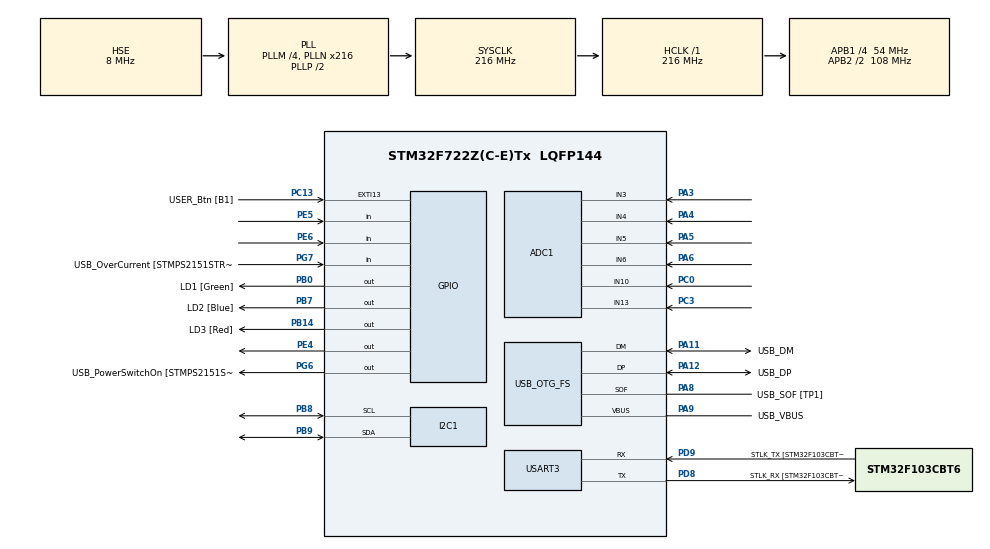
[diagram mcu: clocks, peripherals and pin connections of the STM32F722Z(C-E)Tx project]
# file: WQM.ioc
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ADC1.Channel-3\#ChannelRegularConversion=ADC_CHANNEL_3
ADC1.NbrOfConversionFlag=1
ADC1.Rank-3\#ChannelRegularConversion=1
ADC1.SamplingTime-3\#ChannelRegularConversion=ADC_SAMPLETIME_3CYCLES
ADC1.master=1
CORTEX_M7.default_mode_Activation=1
I2C1.Timing=0x20404768
Mcu.Family=STM32F7
Mcu.Name=STM32F722Z(C-E)Tx
Mcu.Package=LQFP144
NVIC.PriorityGroup=NVIC_PRIORITYGROUP_4
PA10.GPIO_Label=USB_ID
PA10.Signal=USB_OTG_FS_ID
PA11.GPIO_Label=USB_DM
PA11.Mode=Device_Only
PA11.Signal=USB_OTG_FS_DM
PA12.GPIO_Label=USB_DP
PA12.Mode=Device_Only
PA12.Signal=USB_OTG_FS_DP
PA13.GPIO_Label=TMS
PA13.Mode=Serial_Wire
PA13.Signal=SYS_JTMS-SWDIO
PA14.GPIO_Label=TCK
PA14.Mode=Serial_Wire
PA14.Signal=SYS_JTCK-SWCLK
PA3.Signal=ADCx_IN3
PA4.Signal=ADCx_IN4
PA5.Signal=ADCx_IN5
PA6.Signal=ADCx_IN6
PA8.GPIO_Label=USB_SOF [TP1]
PA8.Mode=Activate_SOF_FS
PA8.Signal=USB_OTG_FS_SOF
PA9.GPIO_Label=USB_VBUS
PA9.Mode=Activate_VBUS
PA9.Signal=USB_OTG_FS_VBUS
PB0.GPIO_Label=LD1 [Green]
PB0.Signal=GPIO_Output
PB14.GPIO_Label=LD3 [Red]
PB14.Signal=GPIO_Output
PB3.GPIO_Label=SWO
PB3.Signal=SYS_JTDO-SWO
PB7.GPIO_Label=LD2 [Blue]
PB7.Signal=GPIO_Output
PB8.Mode=I2C
PB8.Signal=I2C1_SCL
PB9.Mode=I2C
PB9.Signal=I2C1_SDA
PC0.Signal=ADCx_IN10
PC13.GPIO_Label=USER_Btn [B1]
PC13.Signal=GPXTI13
PC14-OSC32_IN.Mode=LSE-External-Oscillator
PC14-OSC32_IN.Signal=RCC_OSC32_IN
PC15-OSC32_OUT.Mode=LSE-External-Oscillator
PC15-OSC32_OUT.Signal=RCC_OSC32_OUT
PC3.Signal=ADCx_IN13
PD8.GPIO_Label=STLK_RX [STM32F103CBT6_PA3]
PD8.Mode=Asynchronous
PD8.Signal=USART3_TX
PD9.GPIO_Label=STLK_TX [STM32F103CBT6_PA2]
PD9.Mode=Asynchronous
PD9.Signal=USART3_RX
PE4.Signal=GPIO_Output
PE5.Signal=GPIO_Input
PE6.Signal=GPIO_Input
PG6.GPIO_Label=USB_PowerSwitchOn [STMPS2151STR_EN]
PG6.Signal=GPIO_Output
PG7.GPIO_Label=USB_OverCurrent [STMPS2151STR_FAULT]
PG7.Signal=GPIO_Input
PH0-OSC_IN.GPIO_Label=MCO
PH0-OSC_IN.Mode=HSE-External-Clock-Source
PH0-OSC_IN.Signal=RCC_OSC_IN
PH1-OSC_OUT.Mode=HSE-External-Clock-Source
PH1-OSC_OUT.Signal=RCC_OSC_OUT
ProjectManager.HeapSize=0x200
ProjectManager.StackSize=0x400
ProjectManager.TargetToolchain=STM32CubeIDE
RCC.48MHZClocksFreq_Value=24000000
RCC.AHBFreq_Value=216000000
RCC.APB1CLKDivider=RCC_HCLK_DIV4
RCC.APB1Freq_Value=54000000
RCC.APB1TimFreq_Value=108000000
RCC.APB2CLKDivider=RCC_HCLK_DIV2
RCC.APB2Freq_Value=108000000
RCC.APB2TimFreq_Value=216000000
RCC.CortexFreq_Value=216000000
RCC.HCLKFreq_Value=216000000
RCC.HSE_VALUE=8000000
RCC.HSI_VALUE=16000000
RCC.PLLM=4
RCC.PLLMUL=RCC_PLL_MUL9
RCC.PLLN=216
RCC.PLLQ=9
RCC.PRESCALERUSB=RCC_USBCLKSOURCE_PLL_DIV1_5
RCC.SYSCLKFreq_VALUE=216000000
RCC.SYSCLKSource=RCC_SYSCLKSOURCE_PLLCLK
RCC.SYSCLKSourceVirtual=RCC_SYSCLKSOURCE_PLLCLK
RCC.USBFreq_Value=48000000
RCC.VCOOutputFreq_Value=432000000
SH.ADCx_IN10.0=ADC1_IN10,IN10
SH.ADCx_IN13.0=ADC1_IN13,IN13
SH.ADCx_IN3.0=ADC1_IN3,IN3
SH.ADCx_IN4.0=ADC1_IN4,IN4
SH.ADCx_IN5.0=ADC1_IN5,IN5
SH.ADCx_IN6.0=ADC1_IN6,IN6
USART3.VirtualMode-Asynchronous=VM_ASYNC
USB_OTG_FS.VirtualMode=Device_Only
VP_TIM6_VS_ClockSourceINT.Mode=Enable_Timer
board=NUCLEO-F722ZE

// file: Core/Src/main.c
/* USER CODE BEGIN Header */
/**
 ******************************************************************************
 * @file           : main.c
 * @brief          : Main program body
 ******************************************************************************
 * @attention
 *
 * Copyright (c) 2026 STMicroelectronics.
 * All rights reserved.
 *
 * This software is licensed under terms that can be found in the LICENSE file
 * in the root directory of this software component.
 * If no LICENSE file comes with this software, it is provided AS-IS.
 *
 ******************************************************************************
 */
/* USER CODE END Header */
#include "main.h"

/* USER CODE BEGIN Includes */
#include <math.h>
#include <stdio.h>
#include <string.h>
/* USER CODE END Includes */

/* USER CODE BEGIN PTD */

/* ── Sensor data aggregate ──────────────────────────────────────────────────
 */
typedef struct {
  float ph;
  float turbidity_ntu;
  float tds_ppm;
  float do_mgl;
  float ec_uscm;
  float orp_mv;
  float water_temp_1; /* DS18B20 primary   */
  float water_temp_2; /* DS18B20 backup    */
  float depth_cm;     /* JSN-SR04T         */
  float air_temp;     /* BME280            */
  float humidity;     /* BME280            */
  float pressure_hpa; /* BME280            */
} WQM_SensorData_t;

/* ── BME280 calibration data (from chip NVM) ────────────────────────────────
 * This structure holds the factory-set calibration coefficients (trimming
 * parameters) burned into the BME280 sensor's non-volatile memory (NVM).
 * These values must be read from the sensor during initialization and are
 * essential for compensating the raw ADC readings into actual physical
 * units (Temperature in °C, Pressure in Pa, Humidity in %).
 */
typedef struct {
  /* Temperature compensation parameters */
  uint16_t dig_T1;
  int16_t dig_T2;
  int16_t dig_T3;

  /* Pressure compensation parameters */
  uint16_t dig_P1;
  int16_t dig_P2;
  int16_t dig_P3;
  int16_t dig_P4;
  int16_t dig_P5;
  int16_t dig_P6;
  int16_t dig_P7;
  int16_t dig_P8;
  int16_t dig_P9;

  /* Humidity compensation parameters */
  uint8_t dig_H1;
  int16_t dig_H2;
  uint8_t dig_H3;
  int16_t dig_H4;
  int16_t dig_H5;
  int8_t dig_H6;
} BME280_CalibData_t;

/* USER CODE END PTD */

/* USER CODE BEGIN PD */

/* ── ADC & voltage ──────────────────────────────────────────────────────────
 */
#define ADC_RESOLUTION 4095.0f /* 12-bit ADC                     */
#define VREF 3.3f              /* STM32 ADC reference voltage    */
#define VDIV_SCALE 2.0f        /* Voltage divider 2:1 (10k/10k) */
#define ADC_SAMPLES 16         /* Oversampling count             */

/* ── pH sensor (SEN0161) calibration defaults ───────────────────────────────
 */
/* Two-point calibration: pH 7.0 → ~2.50V, pH 4.0 → ~3.03V (at sensor board) */
#define PH_CAL_SLOPE (-5.70f)
#define PH_CAL_OFFSET (21.34f)

/* ── Turbidity sensor (SEN0189) polynomial coefficients ─────────────────────
 */
#define TURB_COEFF_A (-1120.4f)
#define TURB_COEFF_B (5742.3f)
#define TURB_COEFF_C (-4352.9f)

/* ── TDS sensor (SEN0244) polynomial coefficients ───────────────────────────
 */
#define TDS_COEFF_A (133.42f)
#define TDS_COEFF_B (-255.86f)
#define TDS_COEFF_C (857.39f)
#define TDS_FACTOR (0.5f)

/* ── DO sensor (SEN0237-A) calibration ──────────────────────────────────────
 */
#define DO_CAL1_V 1600     /* Calibration voltage (mV) at cal temp */
#define DO_CAL1_T 25       /* Calibration temperature (°C)         */
#define DO_TEMP_COMP_MV 35 /* ~35 mV per °C compensation           */

/* ── Conductivity sensor (DFR0300) ──────────────────────────────────────────
 */
#define EC_K_CAL 1.0f       /* K-constant calibration factor  */
#define EC_TEMP_COEFF 0.02f /* 2% per °C                     */

/* ── ORP sensor (SEN0165) ───────────────────────────────────────────────────
 */
#define ORP_OFFSET 0.0f /* Calibration offset in mV      */

/* ── DS18B20 OneWire ────────────────────────────────────────────────────────
 */
#define OW_PORT GPIOE
#define OW_PIN GPIO_PIN_6
#define DS18B20_CMD_SKIP_ROM 0xCC
#define DS18B20_CMD_MATCH_ROM 0x55
#define DS18B20_CMD_SEARCH 0xF0
#define DS18B20_CMD_CONVERT 0x44
#define DS18B20_CMD_READ_SCRATCH 0xBE

/* ── JSN-SR04T ultrasonic ───────────────────────────────────────────────────
 */
#define TRIG_PORT GPIOE
#define TRIG_PIN GPIO_PIN_4
#define ECHO_PORT GPIOE
#define ECHO_PIN GPIO_PIN_5
#define US_TIMEOUT 30000 /* Echo timeout in µs (~5m max)  */

/* ── BME280 I2C ─────────────────────────────────────────────────────────────
 */
#define BME280_ADDR (0x76 << 1) /* 7-bit addr left-shifted for HAL */
#define BME280_REG_ID 0xD0
#define BME280_REG_CTRL_HUM 0xF2
#define BME280_REG_CTRL_MEAS 0xF4
#define BME280_REG_CONFIG 0xF5
#define BME280_REG_CALIB_00 0x88 /* Temp/pressure calib start      */
#define BME280_REG_CALIB_26 0xE1 /* Humidity calib start            */
#define BME280_REG_DATA 0xF7     /* Data burst read start           */
#define BME280_CHIP_ID 0x60

/* ── JSON buffer ────────────────────────────────────────────────────────────
 */
#define JSON_BUF_SIZE 512

/* ── Sampling interval ──────────────────────────────────────────────────────
 */
#define SAMPLE_INTERVAL_MS 5000 /* 5 seconds between readings     */

/* ── Device ID ──────────────────────────────────────────────────────────────
 */
#define DEVICE_ID                                                              \
  "WQM-001" // incase multiple of these units are deployed later, so each must
            // carry an id

/* USER CODE END PD */

ADC_HandleTypeDef hadc1;

I2C_HandleTypeDef hi2c1;

TIM_HandleTypeDef htim6;

UART_HandleTypeDef huart3;

PCD_HandleTypeDef hpcd_USB_OTG_FS;

/* USER CODE BEGIN PV */

static BME280_CalibData_t bme280_calib;
static int32_t bme280_t_fine; /* Shared between T/P/H comp  */
static WQM_SensorData_t sensor_data;
static char json_buf[JSON_BUF_SIZE];
static uint32_t sample_counter = 0;

/* DS18B20 ROM addresses — filled at boot by search */
static uint8_t ds18b20_rom[2][8]; /* ROM codes for up to 2 sensors       */
static uint8_t ds18b20_count = 0; /* Number of sensors discovered        */

/* DO saturation lookup table (mg/L × 100) from 0°C to 40°C */
static const uint16_t DO_Table[41] = {
    14460, 14220, 13820, 13440, 13090, 12740, 12420, 12110, 11810, 11530, 11260,
    11010, 10770, 10530, 10300, 10080, 9860,  9660,  9460,  9270,  9080,  8900,
    8730,  8570,  8410,  8250,  8110,  7960,  7820,  7690,  7560,  7430,  7300,
    7180,  7070,  6950,  6840,  6730,  6630,  6530,  6410};

/* USER CODE END PV */

void SystemClock_Config(void);
static void MPU_Config(void);
static void MX_GPIO_Init(void);
static void MX_USART3_UART_Init(void);
static void MX_USB_OTG_FS_PCD_Init(void);
static void MX_ADC1_Init(void);
static void MX_I2C1_Init(void);
static void MX_TIM6_Init(void);
/* USER CODE BEGIN PFP */

/* ── Microsecond delay ──────────────────────────────────────────────────────
 */
static void delay_us(uint16_t us);

/* ── ADC helpers ────────────────────────────────────────────────────────────
 */
static uint32_t ADC_Read_Channel(uint32_t channel);
static float ADC_Read_Voltage(uint32_t channel);

/* ── DS18B20 OneWire ────────────────────────────────────────────────────────
 */
static void OW_SetOutput(void);
static void OW_SetInput(void);
static void OW_Write(uint8_t state);
static uint8_t OW_Read(void);
static uint8_t OW_Reset(void);
static void OW_WriteByte(uint8_t data);
static uint8_t OW_ReadByte(void);
static void DS18B20_SearchROM(void);
static void DS18B20_StartConvertAll(void);
static float DS18B20_ReadTemp(uint8_t index);

/* ── JSN-SR04T ──────────────────────────────────────────────────────────────
 */
static float JSNSR04T_ReadDistance(void);

/* ── BME280 ─────────────────────────────────────────────────────────────────
 */
static uint8_t BME280_Init(void);
static void BME280_ReadCalibration(void);
static void BME280_ReadAll(float *temp, float *press, float *hum);
static int32_t BME280_CompensateTemp(int32_t adc_T);
static uint32_t BME280_CompensatePress(int32_t adc_P);
static uint32_t BME280_CompensateHum(int32_t adc_H);

/* ── Analog sensor conversions ──────────────────────────────────────────────
 */
static float Sensor_ReadPH(void);
static float Sensor_ReadTurbidity(void);
static float Sensor_ReadTDS(float water_temp);
static float Sensor_ReadDO(float water_temp, float pressure_hpa);
static float Sensor_ReadConductivity(float water_temp);
static float Sensor_ReadORP(void);

/* ── JSON builder ───────────────────────────────────────────────────────────
 */
static uint16_t WQM_BuildJSON(const WQM_SensorData_t *data, char *buf,
                              uint16_t buf_size);

/* ── Debug UART output ──────────────────────────────────────────────────────
 */
static void Debug_Print(const char *str);

/* USER CODE END PFP */

/* USER CODE BEGIN 0 */

/* ═══════════════════════════════════════════════════════════════════════════
 */
/*                          MICROSECOND DELAY (TIM6)                         */
/* ═══════════════════════════════════════════════════════════════════════════
 */

static void delay_us(uint16_t us) {
  __HAL_TIM_SET_COUNTER(&htim6, 0);
  while (__HAL_TIM_GET_COUNTER(&htim6) < us)
    ;
}

/* ═══════════════════════════════════════════════════════════════════════════
 */
/*                         ADC SINGLE-CHANNEL READER                         */
/* ═══════════════════════════════════════════════════════════════════════════
 */

/**
 * @brief  Read a single ADC channel with oversampling (16 samples averaged).
 * @param  channel  ADC channel number (e.g. ADC_CHANNEL_3)
 * @return Raw 12-bit ADC value (averaged)
 */
static uint32_t ADC_Read_Channel(uint32_t channel) {
  ADC_ChannelConfTypeDef sConfig = {0};
  sConfig.Channel = channel;
  sConfig.Rank = ADC_REGULAR_RANK_1;
  sConfig.SamplingTime = ADC_SAMPLETIME_56CYCLES;
  HAL_ADC_ConfigChannel(&hadc1, &sConfig);

  uint32_t sum = 0;
  for (int i = 0; i < ADC_SAMPLES; i++) {
    HAL_ADC_Start(&hadc1);
    HAL_ADC_PollForConversion(&hadc1, 10);
    sum += HAL_ADC_GetValue(&hadc1);
    HAL_ADC_Stop(&hadc1);
  }
  return sum / ADC_SAMPLES;
}

/**
 * @brief  Read ADC channel and convert to real-world voltage (accounting
 *         for voltage divider).
 * @param  channel  ADC channel number
 * @return Voltage at the sensor output (before divider), in volts
 */
static float ADC_Read_Voltage(uint32_t channel) {
  uint32_t raw = ADC_Read_Channel(channel);
  float v_adc = ((float)raw / ADC_RESOLUTION) * VREF;
  return v_adc * VDIV_SCALE; /* Scale back through voltage divider */
}

/* ═══════════════════════════════════════════════════════════════════════════
 */
/*                        DS18B20 — ONEWIRE DRIVER                           */
/* ═══════════════════════════════════════════════════════════════════════════
 */

static void OW_SetOutput(void) {
  GPIO_InitTypeDef g = {0};
  g.Pin = OW_PIN;
  g.Mode = GPIO_MODE_OUTPUT_PP;
  g.Pull = GPIO_NOPULL;
  g.Speed = GPIO_SPEED_FREQ_HIGH;
  HAL_GPIO_Init(OW_PORT, &g);
}

static void OW_SetInput(void) {
  GPIO_InitTypeDef g = {0};
  g.Pin = OW_PIN;
  g.Mode = GPIO_MODE_INPUT;
  g.Pull = GPIO_PULLUP;
  HAL_GPIO_Init(OW_PORT, &g);
}

static void OW_Write(uint8_t state) {
  HAL_GPIO_WritePin(OW_PORT, OW_PIN, state ? GPIO_PIN_SET : GPIO_PIN_RESET);
}

static uint8_t OW_Read(void) { return HAL_GPIO_ReadPin(OW_PORT, OW_PIN); }

/**
 * @brief  OneWire reset pulse. Returns 1 if a device is present, 0 otherwise.
 */
static uint8_t OW_Reset(void) {
  uint8_t presence;
  OW_SetOutput();
  OW_Write(0);
  delay_us(480);
  OW_SetInput();
  delay_us(70);
  presence = !OW_Read(); /* LOW = device present */
  delay_us(410);
  return presence;
}

static void OW_WriteBit(uint8_t bit) {
  OW_SetOutput();
  OW_Write(0);
  if (bit) {
    delay_us(6);
    OW_SetInput();
    delay_us(54);
  } else {
    delay_us(60);
    OW_SetInput();
  }
  delay_us(2);
}

static uint8_t OW_ReadBit(void) {
  uint8_t bit;
  OW_SetOutput();
  OW_Write(0);
  delay_us(2);
  OW_SetInput();
  delay_us(12);
  bit = OW_Read();
  delay_us(46);
  return bit;
}

static void OW_WriteByte(uint8_t data) {
  for (int i = 0; i < 8; i++) {
    OW_WriteBit(data & 0x01);
    data >>= 1;
  }
}

static uint8_t OW_ReadByte(void) {
  uint8_t data = 0;
  for (int i = 0; i < 8; i++) {
    data |= (OW_ReadBit() << i);
  }
  return data;
}

/**
 * @brief  Simple ROM search — discovers up to 2 DS18B20 devices on the bus.
 *         For exactly 2 sensors, this uses the SEARCH ROM algorithm.
 *         Fallback: if only 1 device, READ ROM is used.
 */
static void DS18B20_SearchROM(void) {
  ds18b20_count = 0;

  /* Try READ ROM first (works only with a single device) */
  if (!OW_Reset())
    return;
  OW_WriteByte(0x33); /* READ ROM command */
  for (int i = 0; i < 8; i++) {
    ds18b20_rom[0][i] = OW_ReadByte();
  }

  /* Validate family code (0x28 = DS18B20) */
  if (ds18b20_rom[0][0] == 0x28) {
    ds18b20_count = 1;
  } else {
    return; /* No valid device found */
  }

  /* Attempt to find a second device via SEARCH ROM */
  /* Simplified: try SKIP ROM convert then match each ROM to read.
     For 2 sensors sharing a bus, we do a basic iterative search. */
  uint8_t last_discrepancy = 0;
  uint8_t rom_byte, rom_bit, id_bit, cmp_bit;
  uint8_t search_dir;
  uint8_t temp_rom[8];
  (void)last_discrepancy; /* Used in full search; suppress warning */

  if (!OW_Reset())
    return;
  OW_WriteByte(DS18B20_CMD_SEARCH);

  for (int bit_num = 1; bit_num <= 64; bit_num++) {
    id_bit = OW_ReadBit();
    cmp_bit = OW_ReadBit();

    if (id_bit && cmp_bit) {
      /* No devices on bus */
      return;
    }

    if (id_bit != cmp_bit) {
      search_dir = id_bit;
    } else {
      /* Discrepancy — take the opposite path from ROM[0] */
      rom_byte = (bit_num - 1) / 8;
      rom_bit = (bit_num - 1) % 8;
      search_dir = !(ds18b20_rom[0][rom_byte] & (1 << rom_bit)) ? 1 : 0;
      if (search_dir)
        last_discrepancy = bit_num;
    }

    rom_byte = (bit_num - 1) / 8;
    rom_bit = (bit_num - 1) % 8;
    if (search_dir) {
      temp_rom[rom_byte] |= (1 << rom_bit);
    } else {
      temp_rom[rom_byte] &= ~(1 << rom_bit);
    }

    OW_WriteBit(search_dir);
  }

  /* Validate the second ROM */
  if (temp_rom[0] == 0x28 && memcmp(temp_rom, ds18b20_rom[0], 8) != 0) {
    memcpy(ds18b20_rom[1], temp_rom, 8);
    ds18b20_count = 2;
  }
}

/**
 * @brief  Start temperature conversion on ALL DS18B20 sensors (SKIP ROM).
 */
static void DS18B20_StartConvertAll(void) {
  if (!OW_Reset())
    return;
  OW_WriteByte(DS18B20_CMD_SKIP_ROM);
  OW_WriteByte(DS18B20_CMD_CONVERT);
}

/**
 * @brief  Read temperature from a specific DS18B20 by ROM index.
 * @param  index  0 = primary, 1 = backup
 * @return Temperature in °C, or -127.0 on error
 */
static float DS18B20_ReadTemp(uint8_t index) {
  if (index >= ds18b20_count)
    return -127.0f;

  if (!OW_Reset())
    return -127.0f;

  OW_WriteByte(DS18B20_CMD_MATCH_ROM);
  for (int i = 0; i < 8; i++) {
    OW_WriteByte(ds18b20_rom[index][i]);
  }
  OW_WriteByte(DS18B20_CMD_READ_SCRATCH);

  uint8_t lsb = OW_ReadByte();
  uint8_t msb = OW_ReadByte();

  int16_t raw = (int16_t)((msb << 8) | lsb);
  return (float)raw / 16.0f; /* Default 12-bit resolution: 0.0625°C per LSB */
}

/* ═══════════════════════════════════════════════════════════════════════════
 */
/*                      JSN-SR04T — ULTRASONIC DRIVER                        */
/* ═══════════════════════════════════════════════════════════════════════════
 */

/**
 * @brief  Measure distance using JSN-SR04T (trigger/echo mode).
 * @return Distance in cm, or -1.0 on timeout
 */
static float JSNSR04T_ReadDistance(void) {
  uint32_t timeout;

  /* Send 10µs trigger pulse */
  HAL_GPIO_WritePin(TRIG_PORT, TRIG_PIN, GPIO_PIN_SET);
  delay_us(15);
  HAL_GPIO_WritePin(TRIG_PORT, TRIG_PIN, GPIO_PIN_RESET);

  /* Wait for echo to go HIGH (with timeout) */
  timeout = 0;
  while (HAL_GPIO_ReadPin(ECHO_PORT, ECHO_PIN) == GPIO_PIN_RESET) {
    delay_us(1);
    if (++timeout > US_TIMEOUT)
      return -1.0f;
  }

  /* Measure echo pulse width */
  __HAL_TIM_SET_COUNTER(&htim6, 0);
  timeout = 0;
  while (HAL_GPIO_ReadPin(ECHO_PORT, ECHO_PIN) == GPIO_PIN_SET) {
    delay_us(1);
    if (++timeout > US_TIMEOUT)
      return -1.0f;
  }
  uint32_t echo_us = __HAL_TIM_GET_COUNTER(&htim6);

  /* distance_cm = echo_us / 58 */
  return (float)echo_us / 58.0f;
}

/* ═══════════════════════════════════════════════════════════════════════════
 */
/*                         BME280 — I2C DRIVER                               */
/* ═══════════════════════════════════════════════════════════════════════════
 */

static uint8_t BME280_ReadReg(uint8_t reg) {
  uint8_t val = 0;
  HAL_I2C_Mem_Read(&hi2c1, BME280_ADDR, reg, I2C_MEMADD_SIZE_8BIT, &val, 1,
                   100);
  return val;
}

static void BME280_WriteReg(uint8_t reg, uint8_t val) {
  HAL_I2C_Mem_Write(&hi2c1, BME280_ADDR, reg, I2C_MEMADD_SIZE_8BIT, &val, 1,
                    100);
}

static void BME280_ReadBurst(uint8_t reg, uint8_t *buf, uint16_t len) {
  HAL_I2C_Mem_Read(&hi2c1, BME280_ADDR, reg, I2C_MEMADD_SIZE_8BIT, buf, len,
                   100);
}

static uint8_t BME280_Init(void) {
  /* Verify chip ID */
  uint8_t id = BME280_ReadReg(BME280_REG_ID);
  if (id != BME280_CHIP_ID)
    return 0;

  /* Read factory calibration data */
  BME280_ReadCalibration();

  /* Configure: humidity oversampling ×1 (must be set before ctrl_meas) */
  BME280_WriteReg(BME280_REG_CTRL_HUM, 0x01);

  /* Config: standby 1000ms, filter coeff 4 */
  BME280_WriteReg(BME280_REG_CONFIG, 0xA0);

  /* ctrl_meas: temp ×1, pressure ×1, normal mode */
  BME280_WriteReg(BME280_REG_CTRL_MEAS, 0x27);

  return 1;
}

static void BME280_ReadCalibration(void) {
  uint8_t buf[26];
  BME280_ReadBurst(BME280_REG_CALIB_00, buf, 26);

  bme280_calib.dig_T1 = (uint16_t)(buf[1] << 8 | buf[0]);
  bme280_calib.dig_T2 = (int16_t)(buf[3] << 8 | buf[2]);
  bme280_calib.dig_T3 = (int16_t)(buf[5] << 8 | buf[4]);
  bme280_calib.dig_P1 = (uint16_t)(buf[7] << 8 | buf[6]);
  bme280_calib.dig_P2 = (int16_t)(buf[9] << 8 | buf[8]);
  bme280_calib.dig_P3 = (int16_t)(buf[11] << 8 | buf[10]);
  bme280_calib.dig_P4 = (int16_t)(buf[13] << 8 | buf[12]);
  bme280_calib.dig_P5 = (int16_t)(buf[15] << 8 | buf[14]);
  bme280_calib.dig_P6 = (int16_t)(buf[17] << 8 | buf[16]);
  bme280_calib.dig_P7 = (int16_t)(buf[19] << 8 | buf[18]);
  bme280_calib.dig_P8 = (int16_t)(buf[21] << 8 | buf[20]);
  bme280_calib.dig_P9 = (int16_t)(buf[23] << 8 | buf[22]);
  bme280_calib.dig_H1 = buf[25];

  /* Humidity calib is at a different register block */
  uint8_t hbuf[7];
  BME280_ReadBurst(BME280_REG_CALIB_26, hbuf, 7);

  bme280_calib.dig_H2 = (int16_t)(hbuf[1] << 8 | hbuf[0]);
  bme280_calib.dig_H3 = hbuf[2];
  bme280_calib.dig_H4 = (int16_t)((hbuf[3] << 4) | (hbuf[4] & 0x0F));
  bme280_calib.dig_H5 = (int16_t)((hbuf[5] << 4) | (hbuf[4] >> 4));
  bme280_calib.dig_H6 = (int8_t)hbuf[6];
}

/**
 * @brief  Bosch BME280 temperature compensation (returns °C × 100).
 *         Also sets bme280_t_fine for pressure/humidity compensation.
 */
static int32_t BME280_CompensateTemp(int32_t adc_T) {
  int32_t var1, var2, T;
  var1 = ((((adc_T >> 3) - ((int32_t)bme280_calib.dig_T1 << 1))) *
          ((int32_t)bme280_calib.dig_T2)) >>
         11;
  var2 = (((((adc_T >> 4) - ((int32_t)bme280_calib.dig_T1)) *
            ((adc_T >> 4) - ((int32_t)bme280_calib.dig_T1))) >>
           12) *
          ((int32_t)bme280_calib.dig_T3)) >>
         14;
  bme280_t_fine = var1 + var2;
  T = (bme280_t_fine * 5 + 128) >> 8;
  return T; /* °C × 100 */
}

static uint32_t BME280_CompensatePress(int32_t adc_P) {
  int64_t var1, var2, p;
  var1 = ((int64_t)bme280_t_fine) - 128000;
  var2 = var1 * var1 * (int64_t)bme280_calib.dig_P6;
  var2 = var2 + ((var1 * (int64_t)bme280_calib.dig_P5) << 17);
  var2 = var2 + (((int64_t)bme280_calib.dig_P4) << 35);
  var1 = ((var1 * var1 * (int64_t)bme280_calib.dig_P3) >> 8) +
         ((var1 * (int64_t)bme280_calib.dig_P2) << 12);
  var1 = (((((int64_t)1) << 47) + var1)) * ((int64_t)bme280_calib.dig_P1) >> 33;
  if (var1 == 0)
    return 0;
  p = 1048576 - adc_P;
  p = (((p << 31) - var2) * 3125) / var1;
  var1 = (((int64_t)bme280_calib.dig_P9) * (p >> 13) * (p >> 13)) >> 25;
  var2 = (((int64_t)bme280_calib.dig_P8) * p) >> 19;
  p = ((p + var1 + var2) >> 8) + (((int64_t)bme280_calib.dig_P7) << 4);
  return (uint32_t)p; /* Pa × 256 */
}

static uint32_t BME280_CompensateHum(int32_t adc_H) {
  int32_t v_x1_u32r;
  v_x1_u32r = (bme280_t_fine - ((int32_t)76800));
  v_x1_u32r = (((((adc_H << 14) - (((int32_t)bme280_calib.dig_H4) << 20) -
                  (((int32_t)bme280_calib.dig_H5) * v_x1_u32r)) +
                 ((int32_t)16384)) >>
                15) *
               (((((((v_x1_u32r * ((int32_t)bme280_calib.dig_H6)) >> 10) *
                    (((v_x1_u32r * ((int32_t)bme280_calib.dig_H3)) >> 11) +
                     ((int32_t)32768))) >>
                   10) +
                  ((int32_t)2097152)) *
                     ((int32_t)bme280_calib.dig_H2) +
                 8192) >>
                14));
  v_x1_u32r = (v_x1_u32r - (((((v_x1_u32r >> 15) * (v_x1_u32r >> 15)) >> 7) *
                             ((int32_t)bme280_calib.dig_H1)) >>
                            4));
  v_x1_u32r = (v_x1_u32r < 0) ? 0 : v_x1_u32r;
  v_x1_u32r = (v_x1_u32r > 419430400) ? 419430400 : v_x1_u32r;
  return (uint32_t)(v_x1_u32r >> 12); /* %RH × 1024 */
}

/**
 * @brief  Read all BME280 data (temp, pressure, humidity) in a single burst.
 */
static void BME280_ReadAll(float *temp, float *press, float *hum) {
  uint8_t buf[8];
  BME280_ReadBurst(BME280_REG_DATA, buf, 8);

  int32_t adc_P = (int32_t)((buf[0] << 12) | (buf[1] << 4) | (buf[2] >> 4));
  int32_t adc_T = (int32_t)((buf[3] << 12) | (buf[4] << 4) | (buf[5] >> 4));
  int32_t adc_H = (int32_t)((buf[6] << 8) | buf[7]);

  /* Temperature MUST be calculated first (sets t_fine) */
  int32_t t100 = BME280_CompensateTemp(adc_T);
  uint32_t p256 = BME280_CompensatePress(adc_P);
  uint32_t h1024 = BME280_CompensateHum(adc_H);

  *temp = (float)t100 / 100.0f;
  *press = (float)p256 / 256.0f / 100.0f; /* Pa → hPa */
  *hum = (float)h1024 / 1024.0f;
}

/* ═══════════════════════════════════════════════════════════════════════════
 */
/*                    ANALOG SENSOR CONVERSION FUNCTIONS                     */
/* ═══════════════════════════════════════════════════════════════════════════
 */

/**
 * @brief  Read pH value from SEN0161.
 *         Uses two-point calibration: pH = slope × voltage + offset
 */
static float Sensor_ReadPH(void) {
  float voltage = ADC_Read_Voltage(ADC_CHANNEL_3); /* PA3 */
  float ph = PH_CAL_SLOPE * voltage + PH_CAL_OFFSET;
  /* Clamp to valid pH range */
  if (ph < 0.0f)
    ph = 0.0f;
  if (ph > 14.0f)
    ph = 14.0f;
  return ph;
}

/**
 * @brief  Read turbidity from SEN0189.
 *         Quadratic polynomial: NTU = a×V² + b×V + c
 */
static float Sensor_ReadTurbidity(void) {
  float v = ADC_Read_Voltage(ADC_CHANNEL_10); /* PC0 */
  float ntu = TURB_COEFF_A * v * v + TURB_COEFF_B * v + TURB_COEFF_C;
  if (ntu < 0.0f)
    ntu = 0.0f;
  if (ntu > 3000.0f)
    ntu = 3000.0f;
  return ntu;
}

/**
 * @brief  Read TDS from SEN0244 with temperature compensation.
 *         DFRobot polynomial: TDS = (133.42×Vc³ - 255.86×Vc² + 857.39×Vc) × 0.5
 */
static float Sensor_ReadTDS(float water_temp) {
  float voltage = ADC_Read_Voltage(ADC_CHANNEL_13); /* PC3 */

  /* Temperature compensation */
  float comp_coeff = 1.0f + EC_TEMP_COEFF * (water_temp - 25.0f);
  float comp_v = voltage / comp_coeff;

  /* Polynomial conversion */
  float tds = (TDS_COEFF_A * comp_v * comp_v * comp_v +
               TDS_COEFF_B * comp_v * comp_v + TDS_COEFF_C * comp_v) *
              TDS_FACTOR;
  if (tds < 0.0f)
    tds = 0.0f;
  if (tds > 1000.0f)
    tds = 1000.0f; /* SEN0244 max range */
  return tds;
}

/**
 * @brief  Read dissolved oxygen from SEN0237-A with temperature and
 *         barometric pressure compensation.
 *         Uses DO_Table lookup + single-point voltage calibration.
 */
static float Sensor_ReadDO(float water_temp, float pressure_hpa) {
  float voltage = ADC_Read_Voltage(ADC_CHANNEL_4); /* PA4 */
  uint32_t voltage_mv = (uint32_t)(voltage * 1000.0f);

  /* Clamp temperature index to table bounds */
  uint8_t temp_idx = (uint8_t)water_temp;
  if (temp_idx > 40)
    temp_idx = 40;

  /* Calculate saturation voltage at current temperature (single-point cal) */
  uint16_t v_saturation = (uint32_t)DO_CAL1_V +
                          (uint32_t)DO_TEMP_COMP_MV * temp_idx -
                          (uint32_t)DO_CAL1_T * DO_TEMP_COMP_MV;

  /* DO = (measured_mV × saturation_mgL) / saturation_mV */
  float do_val = 0.0f;
  if (v_saturation > 0) {
    do_val = (float)(voltage_mv * DO_Table[temp_idx]) / (float)v_saturation;
    do_val /= 100.0f; /* DO_Table values are mg/L × 100 */
  }

  /* Barometric pressure compensation: DO × (actual_pressure /
   * standard_pressure) */
  if (pressure_hpa > 0.0f) {
    do_val *= (pressure_hpa / 1013.25f);
  }

  if (do_val < 0.0f)
    do_val = 0.0f;
  if (do_val > 20.0f)
    do_val = 20.0f;
  return do_val;
}

/**
 * @brief  Read electrical conductivity from DFR0300 (K=1).
 *         Linear approximation with temperature normalization to 25°C.
 */
static float Sensor_ReadConductivity(float water_temp) {
  float voltage = ADC_Read_Voltage(ADC_CHANNEL_5); /* PA5 */

  /* Raw EC calculation (µS/cm) */
  float ec_raw =
      (voltage * 1000.0f) / (820.0f * 200.0f) * EC_K_CAL * 1000000.0f;

  /* Temperature compensation: normalize to 25°C */
  float ec_25 = ec_raw / (1.0f + EC_TEMP_COEFF * (water_temp - 25.0f));

  if (ec_25 < 0.0f)
    ec_25 = 0.0f;
  return ec_25;
}

/**
 * @brief  Read ORP from SEN0165.
 *         Formula adapted from DFRobot sample code for 12-bit ADC.
 *         ORP_mV = ((30 × Vref × 1000) - (75 × ADC_avg × Vref × 1000 / 4096)) /
 * 75 - OFFSET
 */
static float Sensor_ReadORP(void) {
  uint32_t adc_raw = ADC_Read_Channel(ADC_CHANNEL_6); /* PA6 */

  /* DFRobot ORP formula adapted for 12-bit ADC and 3.3V system with divider */
  /* ORP: voltage represents millivolts offset from reference electrode */
  /* The SEN0165 board output: ORP_mV ≈ (Vref/2 - Vout) × gain */
  /* Simplified: map 0–5V board output to ±2000mV ORP range */
  float orp_mv = ((30.0f * VREF * VDIV_SCALE * 1000.0f) -
                  (75.0f * (float)adc_raw * VREF * VDIV_SCALE * 1000.0f /
                   (ADC_RESOLUTION + 1.0f))) /
                     75.0f -
                 ORP_OFFSET;

  return orp_mv;
}

/* ═══════════════════════════════════════════════════════════════════════════
 */
/*                           JSON PACKET BUILDER                             */
/* ═══════════════════════════════════════════════════════════════════════════
 */

/**
 * @brief  Build a JSON payload from the sensor data struct.
 * @param  data     Pointer to sensor data
 * @param  buf      Output buffer
 * @param  buf_size Buffer size
 * @return Number of bytes written (excluding null terminator)
 */
static uint16_t WQM_BuildJSON(const WQM_SensorData_t *data, char *buf,
                              uint16_t buf_size) {
  int len = snprintf(buf, buf_size,
                     "{"
                     "\"id\":\"%s\","
                     "\"ts\":%lu,"
                     "\"pH\":%.2f,"
                     "\"turb_ntu\":%.1f,"
                     "\"tds_ppm\":%.1f,"
                     "\"do_mgl\":%.2f,"
                     "\"ec_uscm\":%.1f,"
                     "\"orp_mv\":%.1f,"
                     "\"temp_w1\":%.2f,"
                     "\"temp_w2\":%.2f,"
                     "\"depth_cm\":%.1f,"
                     "\"temp_air\":%.2f,"
                     "\"humidity\":%.1f,"
                     "\"pressure_hpa\":%.2f"
                     "}\r\n",
                     DEVICE_ID, (unsigned long)HAL_GetTick(), data->ph,
                     data->turbidity_ntu, data->tds_ppm, data->do_mgl,
                     data->ec_uscm, data->orp_mv, data->water_temp_1,
                     data->water_temp_2, data->depth_cm, data->air_temp,
                     data->humidity, data->pressure_hpa);

  return (uint16_t)((len > 0) ? len : 0);
}

/* ═══════════════════════════════════════════════════════════════════════════
 */
/*                           DEBUG UART OUTPUT                               */
/* ═══════════════════════════════════════════════════════════════════════════
 */

static void Debug_Print(const char *str) {
  HAL_UART_Transmit(&huart3, (uint8_t *)str, strlen(str), 500);
}

/* Manual peripheral init functions removed — CubeMX now generates them.
 * TIM6 prescaler and start are configured in USER CODE TIM6_Init 2 below.
 */

/* USER CODE END 0 */

int main(void) {

  /* MPU Configuration--------------------------------------------------------*/
  MPU_Config();

  /* MCU Configuration--------------------------------------------------------*/

  /* Reset of all peripherals, Initializes the Flash interface and the Systick.
   */
  HAL_Init();

  /* Configure the system clock */
  SystemClock_Config();

  /* Initialize all configured peripherals */
  MX_GPIO_Init();
  MX_USART3_UART_Init();
  MX_USB_OTG_FS_PCD_Init();
  MX_ADC1_Init();
  MX_I2C1_Init();
  MX_TIM6_Init();
  /* USER CODE BEGIN 2 */

  /* ── Boot message ─────────────────────────────────────────────────────────
   */
  Debug_Print("\r\n========================================\r\n");
  Debug_Print("  WQM Sensor Suite — NUCLEO-F722ZE\r\n");
  Debug_Print("========================================\r\n");

  /* ── Initialize BME280 ────────────────────────────────────────────────────
   */
  if (BME280_Init()) {
    Debug_Print("[OK]  BME280 initialized (ID=0x60)\r\n");
  } else {
    Debug_Print("[ERR] BME280 not found! Check I2C wiring.\r\n");
  }

  /* ── Discover DS18B20 sensors ─────────────────────────────────────────────
   */
  DS18B20_SearchROM();
  {
    char msg[64];
    snprintf(msg, sizeof(msg), "[OK]  DS18B20 sensors found: %u\r\n",
             ds18b20_count);
    Debug_Print(msg);
  }

  Debug_Print("[OK]  All peripherals initialized.\r\n");
  Debug_Print("========================================\r\n\r\n");

  HAL_Delay(1000); /* Let sensors stabilize */

  /* USER CODE END 2 */

  /* Infinite loop */
  /* USER CODE BEGIN WHILE */
  while (1) {
    sample_counter++;

    /* ═══════════════════════════════════════════════════════════════════════
     */
    /*  STOP-AND-SAMPLE SEQUENCE (per WQM_Sensor_Suite_Guide.md)            */
    /*  1. BME280  2. DS18B20  3. Fast analog  4. ORP  5. pH  6. DO  7. US */
    /* ═══════════════════════════════════════════════════════════════════════
     */

    /* ── Step 1: Read BME280 (air temp, humidity, barometric pressure) ──── */
    BME280_ReadAll(&sensor_data.air_temp, &sensor_data.pressure_hpa,
                   &sensor_data.humidity);

    /* ── Step 2: Start DS18B20 conversion and read temperatures ────────── */
    DS18B20_StartConvertAll();
    HAL_Delay(750); /* 12-bit conversion takes up to 750ms */
    sensor_data.water_temp_1 = DS18B20_ReadTemp(0);
    sensor_data.water_temp_2 = DS18B20_ReadTemp(1);

    /* Use primary temp for compensation; fallback to backup if primary fails */
    float comp_temp = sensor_data.water_temp_1;
    if (comp_temp < -50.0f || comp_temp > 125.0f) {
      comp_temp = sensor_data.water_temp_2;
    }
    if (comp_temp < -50.0f || comp_temp > 125.0f) {
      comp_temp = 25.0f; /* Last resort default */
    }

    /* ── Step 3: Read fast analog sensors (conductivity, TDS, turbidity) ── */
    sensor_data.ec_uscm = Sensor_ReadConductivity(comp_temp);
    sensor_data.tds_ppm = Sensor_ReadTDS(comp_temp);
    sensor_data.turbidity_ntu = Sensor_ReadTurbidity();

    /* ── Step 4: Read ORP (~20s settling in real deployment, instant here)  */
    sensor_data.orp_mv = Sensor_ReadORP();

    /* ── Step 5: Read pH ────────────────────────────────────────────────────
     */
    sensor_data.ph = Sensor_ReadPH();

    /* ── Step 6: Read DO last (slowest — maximum settling time by now) ──── */
    sensor_data.do_mgl = Sensor_ReadDO(comp_temp, sensor_data.pressure_hpa);

    /* ── Step 7: Read ultrasonic depth ───────────────────────────────────────
     */
    sensor_data.depth_cm = JSNSR04T_ReadDistance();

    /* ═══════════════════════════════════════════════════════════════════════
     */
    /*  BUILD JSON PACKET & TRANSMIT VIA USART3 (debug; LoRa later)         */
    /* ═══════════════════════════════════════════════════════════════════════
     */

    uint16_t json_len = WQM_BuildJSON(&sensor_data, json_buf, JSON_BUF_SIZE);
    if (json_len > 0) {
      Debug_Print(json_buf);
    }

    /* Status LED blink — green LD1 on PB0 */
    HAL_GPIO_TogglePin(GPIOB, LD1_Pin);

    /* Wait for next sample interval */
    HAL_Delay(SAMPLE_INTERVAL_MS);

    /* USER CODE END WHILE */

  }
}

void SystemClock_Config(void) {
  RCC_OscInitTypeDef RCC_OscInitStruct = {0};
  RCC_ClkInitTypeDef RCC_ClkInitStruct = {0};

  /** Configure LSE Drive Capability
   */
  HAL_PWR_EnableBkUpAccess();

  /** Configure the main internal regulator output voltage
   */
  __HAL_RCC_PWR_CLK_ENABLE();
  __HAL_PWR_VOLTAGESCALING_CONFIG(PWR_REGULATOR_VOLTAGE_SCALE1);

  /** Initializes the RCC Oscillators according to the specified parameters
   * in the RCC_OscInitTypeDef structure.
   */
  RCC_OscInitStruct.OscillatorType = RCC_OSCILLATORTYPE_HSE;
  RCC_OscInitStruct.HSEState = RCC_HSE_BYPASS;
  RCC_OscInitStruct.PLL.PLLState = RCC_PLL_ON;
  RCC_OscInitStruct.PLL.PLLSource = RCC_PLLSOURCE_HSE;
  RCC_OscInitStruct.PLL.PLLM = 4;
  RCC_OscInitStruct.PLL.PLLN = 216;
  RCC_OscInitStruct.PLL.PLLP = RCC_PLLP_DIV2;
  RCC_OscInitStruct.PLL.PLLQ = 9;
  if (HAL_RCC_OscConfig(&RCC_OscInitStruct) != HAL_OK) {
    Error_Handler();
  }

  /** Activate the Over-Drive mode
   */
  if (HAL_PWREx_EnableOverDrive() != HAL_OK) {
    Error_Handler();
  }

  /** Initializes the CPU, AHB and APB buses clocks
   */
  RCC_ClkInitStruct.ClockType = RCC_CLOCKTYPE_HCLK | RCC_CLOCKTYPE_SYSCLK |
                                RCC_CLOCKTYPE_PCLK1 | RCC_CLOCKTYPE_PCLK2;
  RCC_ClkInitStruct.SYSCLKSource = RCC_SYSCLKSOURCE_PLLCLK;
  RCC_ClkInitStruct.AHBCLKDivider = RCC_SYSCLK_DIV1;
  RCC_ClkInitStruct.APB1CLKDivider = RCC_HCLK_DIV4;
  RCC_ClkInitStruct.APB2CLKDivider = RCC_HCLK_DIV2;

  if (HAL_RCC_ClockConfig(&RCC_ClkInitStruct, FLASH_LATENCY_7) != HAL_OK) {
    Error_Handler();
  }
}

static void MX_ADC1_Init(void) {

  ADC_ChannelConfTypeDef sConfig = {0};

  /** Configure the global features of the ADC (Clock, Resolution, Data
   * Alignment and number of conversion)
   */
  hadc1.Instance = ADC1;
  hadc1.Init.ClockPrescaler = ADC_CLOCK_SYNC_PCLK_DIV4;
  hadc1.Init.Resolution = ADC_RESOLUTION_12B;
  hadc1.Init.ScanConvMode = ADC_SCAN_DISABLE;
  hadc1.Init.ContinuousConvMode = DISABLE;
  hadc1.Init.DiscontinuousConvMode = DISABLE;
  hadc1.Init.ExternalTrigConvEdge = ADC_EXTERNALTRIGCONVEDGE_NONE;
  hadc1.Init.ExternalTrigConv = ADC_SOFTWARE_START;
  hadc1.Init.DataAlign = ADC_DATAALIGN_RIGHT;
  hadc1.Init.NbrOfConversion = 1;
  hadc1.Init.DMAContinuousRequests = DISABLE;
  hadc1.Init.EOCSelection = ADC_EOC_SINGLE_CONV;
  if (HAL_ADC_Init(&hadc1) != HAL_OK) {
    Error_Handler();
  }

  /** Configure for the selected ADC regular channel its corresponding rank in
   * the sequencer and its sample time.
   */
  sConfig.Channel = ADC_CHANNEL_3;
  sConfig.Rank = ADC_REGULAR_RANK_1;
  sConfig.SamplingTime = ADC_SAMPLETIME_3CYCLES;
  if (HAL_ADC_ConfigChannel(&hadc1, &sConfig) != HAL_OK) {
    Error_Handler();
  }
}

static void MX_I2C1_Init(void) {

  hi2c1.Instance = I2C1;
  hi2c1.Init.Timing = 0x20404768;
  hi2c1.Init.OwnAddress1 = 0;
  hi2c1.Init.AddressingMode = I2C_ADDRESSINGMODE_7BIT;
  hi2c1.Init.DualAddressMode = I2C_DUALADDRESS_DISABLE;
  hi2c1.Init.OwnAddress2 = 0;
  hi2c1.Init.OwnAddress2Masks = I2C_OA2_NOMASK;
  hi2c1.Init.GeneralCallMode = I2C_GENERALCALL_DISABLE;
  hi2c1.Init.NoStretchMode = I2C_NOSTRETCH_DISABLE;
  if (HAL_I2C_Init(&hi2c1) != HAL_OK) {
    Error_Handler();
  }

  /** Configure Analogue filter
   */
  if (HAL_I2CEx_ConfigAnalogFilter(&hi2c1, I2C_ANALOGFILTER_ENABLE) != HAL_OK) {
    Error_Handler();
  }

  /** Configure Digital filter
   */
  if (HAL_I2CEx_ConfigDigitalFilter(&hi2c1, 0) != HAL_OK) {
    Error_Handler();
  }
}

static void MX_TIM6_Init(void) {

  TIM_MasterConfigTypeDef sMasterConfig = {0};

  htim6.Instance = TIM6;
  htim6.Init.Prescaler = 107; /* 108 MHz / (107+1) = 1 MHz → 1 µs tick */
  htim6.Init.CounterMode = TIM_COUNTERMODE_UP;
  htim6.Init.Period = 65535;
  htim6.Init.AutoReloadPreload = TIM_AUTORELOAD_PRELOAD_DISABLE;
  if (HAL_TIM_Base_Init(&htim6) != HAL_OK) {
    Error_Handler();
  }
  sMasterConfig.MasterOutputTrigger = TIM_TRGO_RESET;
  sMasterConfig.MasterSlaveMode = TIM_MASTERSLAVEMODE_DISABLE;
  if (HAL_TIMEx_MasterConfigSynchronization(&htim6, &sMasterConfig) != HAL_OK) {
    Error_Handler();
  }
  /* USER CODE BEGIN TIM6_Init 2 */
  HAL_TIM_Base_Start(&htim6); /* Start free-running counter for delay_us() */
  /* USER CODE END TIM6_Init 2 */
}

static void MX_USART3_UART_Init(void) {

  huart3.Instance = USART3;
  huart3.Init.BaudRate = 115200;
  huart3.Init.WordLength = UART_WORDLENGTH_8B;
  huart3.Init.StopBits = UART_STOPBITS_1;
  huart3.Init.Parity = UART_PARITY_NONE;
  huart3.Init.Mode = UART_MODE_TX_RX;
  huart3.Init.HwFlowCtl = UART_HWCONTROL_NONE;
  huart3.Init.OverSampling = UART_OVERSAMPLING_16;
  huart3.Init.OneBitSampling = UART_ONE_BIT_SAMPLE_DISABLE;
  huart3.AdvancedInit.AdvFeatureInit = UART_ADVFEATURE_NO_INIT;
  if (HAL_UART_Init(&huart3) != HAL_OK) {
    Error_Handler();
  }
}

static void MX_USB_OTG_FS_PCD_Init(void) {

  hpcd_USB_OTG_FS.Instance = USB_OTG_FS;
  hpcd_USB_OTG_FS.Init.dev_endpoints = 6;
  hpcd_USB_OTG_FS.Init.speed = PCD_SPEED_FULL;
  hpcd_USB_OTG_FS.Init.dma_enable = DISABLE;
  hpcd_USB_OTG_FS.Init.phy_itface = PCD_PHY_EMBEDDED;
  hpcd_USB_OTG_FS.Init.Sof_enable = ENABLE;
  hpcd_USB_OTG_FS.Init.low_power_enable = DISABLE;
  hpcd_USB_OTG_FS.Init.lpm_enable = DISABLE;
  hpcd_USB_OTG_FS.Init.battery_charging_enable = ENABLE;
  hpcd_USB_OTG_FS.Init.vbus_sensing_enable = ENABLE;
  hpcd_USB_OTG_FS.Init.use_dedicated_ep1 = DISABLE;
  if (HAL_PCD_Init(&hpcd_USB_OTG_FS) != HAL_OK) {
    Error_Handler();
  }
}

static void MX_GPIO_Init(void) {
  GPIO_InitTypeDef GPIO_InitStruct = {0};

  /* GPIO Ports Clock Enable */
  __HAL_RCC_GPIOE_CLK_ENABLE();
  __HAL_RCC_GPIOC_CLK_ENABLE();
  __HAL_RCC_GPIOH_CLK_ENABLE();
  __HAL_RCC_GPIOA_CLK_ENABLE();
  __HAL_RCC_GPIOB_CLK_ENABLE();
  __HAL_RCC_GPIOD_CLK_ENABLE();
  __HAL_RCC_GPIOG_CLK_ENABLE();

  /*Configure GPIO pin Output Level */
  HAL_GPIO_WritePin(GPIOE, GPIO_PIN_4, GPIO_PIN_RESET);

  /*Configure GPIO pin Output Level */
  HAL_GPIO_WritePin(GPIOB, LD1_Pin | LD3_Pin | LD2_Pin, GPIO_PIN_RESET);

  /*Configure GPIO pin Output Level */
  HAL_GPIO_WritePin(USB_PowerSwitchOn_GPIO_Port, USB_PowerSwitchOn_Pin,
                    GPIO_PIN_RESET);

  /*Configure GPIO pin : PE4 */
  GPIO_InitStruct.Pin = GPIO_PIN_4;
  GPIO_InitStruct.Mode = GPIO_MODE_OUTPUT_PP;
  GPIO_InitStruct.Pull = GPIO_NOPULL;
  GPIO_InitStruct.Speed = GPIO_SPEED_FREQ_LOW;
  HAL_GPIO_Init(GPIOE, &GPIO_InitStruct);

  /*Configure GPIO pins : PE5 PE6 */
  GPIO_InitStruct.Pin = GPIO_PIN_5 | GPIO_PIN_6;
  GPIO_InitStruct.Mode = GPIO_MODE_INPUT;
  GPIO_InitStruct.Pull = GPIO_NOPULL;
  HAL_GPIO_Init(GPIOE, &GPIO_InitStruct);

  /*Configure GPIO pin : USER_Btn_Pin */
  GPIO_InitStruct.Pin = USER_Btn_Pin;
  GPIO_InitStruct.Mode = GPIO_MODE_IT_RISING;
  GPIO_InitStruct.Pull = GPIO_NOPULL;
  HAL_GPIO_Init(USER_Btn_GPIO_Port, &GPIO_InitStruct);

  /*Configure GPIO pins : LD1_Pin LD3_Pin LD2_Pin */
  GPIO_InitStruct.Pin = LD1_Pin | LD3_Pin | LD2_Pin;
  GPIO_InitStruct.Mode = GPIO_MODE_OUTPUT_PP;
  GPIO_InitStruct.Pull = GPIO_NOPULL;
  GPIO_InitStruct.Speed = GPIO_SPEED_FREQ_LOW;
  HAL_GPIO_Init(GPIOB, &GPIO_InitStruct);

  /*Configure GPIO pin : USB_PowerSwitchOn_Pin */
  GPIO_InitStruct.Pin = USB_PowerSwitchOn_Pin;
  GPIO_InitStruct.Mode = GPIO_MODE_OUTPUT_PP;
  GPIO_InitStruct.Pull = GPIO_NOPULL;
  GPIO_InitStruct.Speed = GPIO_SPEED_FREQ_LOW;
  HAL_GPIO_Init(USB_PowerSwitchOn_GPIO_Port, &GPIO_InitStruct);

  /*Configure GPIO pin : USB_OverCurrent_Pin */
  GPIO_InitStruct.Pin = USB_OverCurrent_Pin;
  GPIO_InitStruct.Mode = GPIO_MODE_INPUT;
  GPIO_InitStruct.Pull = GPIO_NOPULL;
  HAL_GPIO_Init(USB_OverCurrent_GPIO_Port, &GPIO_InitStruct);

}

/* MPU Configuration */

void MPU_Config(void) {
  MPU_Region_InitTypeDef MPU_InitStruct = {0};

  /* Disables the MPU */
  HAL_MPU_Disable();

  /** Initializes and configures the Region and the memory to be protected
   */
  MPU_InitStruct.Enable = MPU_REGION_ENABLE;
  MPU_InitStruct.Number = MPU_REGION_NUMBER0;
  MPU_InitStruct.BaseAddress = 0x0;
  MPU_InitStruct.Size = MPU_REGION_SIZE_4GB;
  MPU_InitStruct.SubRegionDisable = 0x87;
  MPU_InitStruct.TypeExtField = MPU_TEX_LEVEL0;
  MPU_InitStruct.AccessPermission = MPU_REGION_NO_ACCESS;
  MPU_InitStruct.DisableExec = MPU_INSTRUCTION_ACCESS_DISABLE;
  MPU_InitStruct.IsShareable = MPU_ACCESS_SHAREABLE;
  MPU_InitStruct.IsCacheable = MPU_ACCESS_NOT_CACHEABLE;
  MPU_InitStruct.IsBufferable = MPU_ACCESS_NOT_BUFFERABLE;

  HAL_MPU_ConfigRegion(&MPU_InitStruct);
  /* Enables the MPU */
  HAL_MPU_Enable(MPU_PRIVILEGED_DEFAULT);
}

void Error_Handler(void) {
  __disable_irq();
  while (1) {
  }
}
#ifdef USE_FULL_ASSERT
/**
 * @brief  Reports the name of the source file and the source line number
 *         where the assert_param error has occurred.
 * @param  file: pointer to the source file name
 * @param  line: assert_param error line source number
 * @retval None
 */
void assert_failed(uint8_t *file, uint32_t line) {
  /* USER CODE BEGIN 6 */
  /* User can add his own implementation to report the file name and line
     number, ex: printf("Wrong parameters value: file %s on line %d\r\n", file,
     line) */
  /* USER CODE END 6 */
}
#endif /* USE_FULL_ASSERT */
